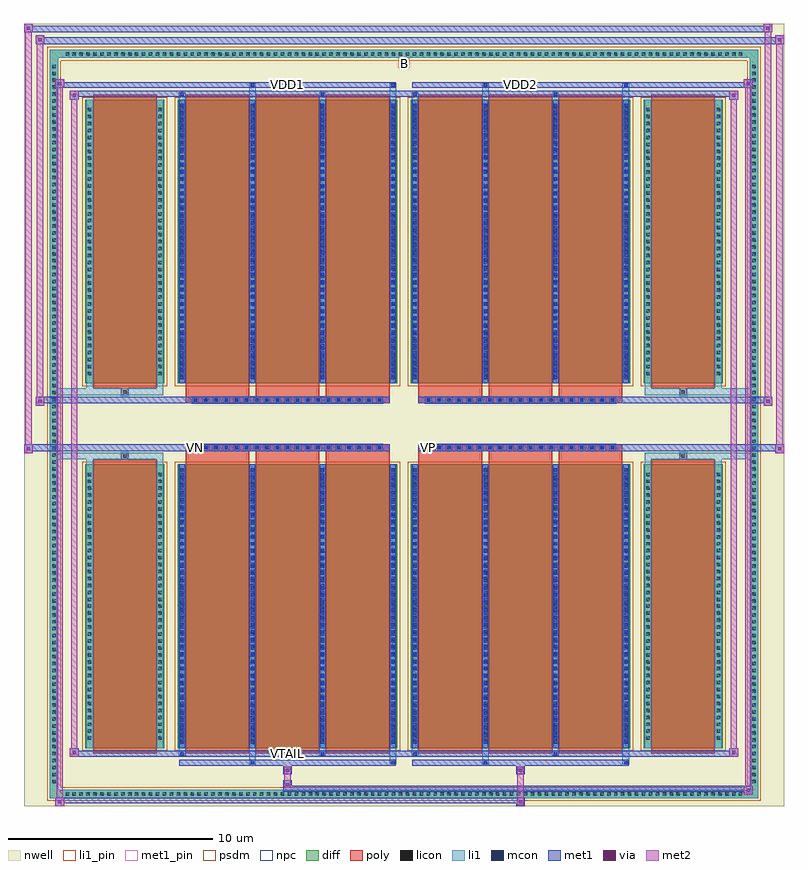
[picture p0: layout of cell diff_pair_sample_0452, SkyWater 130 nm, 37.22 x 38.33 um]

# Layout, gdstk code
import gdstk
lib = gdstk.Library(unit=1e-6, precision=5e-09)
def R(c, l, rs):  # rectangles x0, y0, x1, y1
    for r in rs: c.add(gdstk.rectangle(r[:2], r[2:], *l))
def A(c, l, x, y, w, h, nx, ny, dx, dy):  # array of equal rectangles
    R(c, l, [(x+i*dx, y+j*dy, x+i*dx+w, y+j*dy+h) for i in range(nx) for j in range(ny)])
def P(c, l, *ps):  # polygons
    for p in ps: c.add(gdstk.Polygon(p, *l))
nwell = (64, 20)
diff = (65, 20)
poly = (66, 20)
licon = (66, 44)
li1_pin = (67, 16)
li1 = (67, 20)
mcon = (67, 44)
met1_pin = (68, 16)
met1 = (68, 20)
via = (68, 44)
met2 = (69, 20)
psdm = (94, 20)
npc = (95, 20)

diff_pair_sample_0452 = lib.new_cell('diff_pair_sample_0452')
R(diff_pair_sample_0452, nwell, [(-18.61,-18.73,18.61,19.6), (-15.93,-16.92,-0.01,-0.8), (0.01,-16.92,15.93,-0.8), (-15.93,0.8,-0.01,16.92), (0.01,0.8,15.93,16.92)])
A(diff_pair_sample_0452, diff, -16.695, -18.33, 0.41, 0.41, 98, 2, 0.34, 36.25)
A(diff_pair_sample_0452, diff, -17.34, -17.715, 0.41, 0.41, 1, 104, 0, 0.34)
A(diff_pair_sample_0452, diff, 16.93, -17.715, 0.41, 0.41, 1, 104, 0, 0.34)
R(diff_pair_sample_0452, diff, [(-16.695,-18.33,16.695,-17.92), (-17.34,-17.715,-16.93,17.715), (16.93,-17.715,17.34,17.715), (-15.62,-15.875,-11.73,-1.985), (-11.09,-15.875,-0.32,-1.985), (0.32,-15.875,11.09,-1.985), (11.73,-15.875,15.62,-1.985), (-15.62,1.985,-11.73,15.875), (-11.09,1.985,-0.32,15.875), (0.32,1.985,11.09,15.875), (11.73,1.985,15.62,15.875), (-16.695,17.92,16.695,18.33)])
P(diff_pair_sample_0452, diff, [(17.34,18.33),(-17.34,18.33),(-17.34,-17.92),(-16.93,-17.92),(-16.93,17.92),(16.93,17.92),(16.93,-17.92),(-16.93,-17.92),(-17.34,-17.92),(-17.34,-18.33),(17.34,-18.33)])
A(diff_pair_sample_0452, poly, -10.7, -16.125, 3.11, 14.39, 3, 2, 3.44, 17.86)
A(diff_pair_sample_0452, poly, 0.71, -16.125, 3.11, 14.39, 3, 2, 3.44, 17.86)
A(diff_pair_sample_0452, poly, -10.7, -1.735, 3.11, 0.405, 3, 2, 3.44, 3.065)
A(diff_pair_sample_0452, poly, 0.71, -1.735, 3.11, 0.405, 3, 2, 3.44, 3.065)
A(diff_pair_sample_0452, poly, -10.37, -1.33, 0.33, 0.33, 19, 2, 0.5, 2.33)
A(diff_pair_sample_0452, poly, 1.04, -1.33, 0.33, 0.33, 19, 2, 0.5, 2.33)
R(diff_pair_sample_0452, poly, [(-15.23,-16.125,-12.12,-1.735), (12.12,-16.125,15.23,-1.735), (-13.84,-1.735,-13.51,-1.405), (-13.84,-1.735,-13.51,-1.405), (13.51,-1.735,13.84,-1.405), (13.51,-1.735,13.84,-1.405), (-10.7,-1.33,-0.71,-1), (0.71,-1.33,10.7,-1), (-10.7,1,-0.71,1.33), (0.71,1,10.7,1.33), (-13.84,1.405,-13.51,1.735), (-13.84,1.405,-13.51,1.735), (13.51,1.405,13.84,1.735), (13.51,1.405,13.84,1.735), (-15.23,1.735,-12.12,16.125), (12.12,1.735,15.23,16.125)])
A(diff_pair_sample_0452, licon, -16.575, -18.21, 0.17, 0.17, 98, 2, 0.34, 36.25)
A(diff_pair_sample_0452, licon, -17.22, -17.595, 0.17, 0.17, 1, 104, 0, 0.34)
A(diff_pair_sample_0452, licon, 17.05, -17.595, 0.17, 0.17, 1, 104, 0, 0.34)
A(diff_pair_sample_0452, licon, -15.48, -15.475, 0.17, 0.17, 1, 39, 0, 0.34)
A(diff_pair_sample_0452, licon, -12.04, -15.475, 0.17, 0.17, 1, 39, 0, 0.34)
A(diff_pair_sample_0452, licon, -10.95, -15.475, 0.17, 0.17, 4, 39, 3.44, 0.34)
A(diff_pair_sample_0452, licon, 0.46, -15.475, 0.17, 0.17, 4, 39, 3.44, 0.34)
A(diff_pair_sample_0452, licon, 11.87, -15.475, 0.17, 0.17, 1, 39, 0, 0.34)
A(diff_pair_sample_0452, licon, 15.31, -15.475, 0.17, 0.17, 1, 39, 0, 0.34)
A(diff_pair_sample_0452, licon, -10.29, -1.25, 0.17, 0.17, 19, 2, 0.5, 2.33)
A(diff_pair_sample_0452, licon, 1.12, -1.25, 0.17, 0.17, 19, 2, 0.5, 2.33)
A(diff_pair_sample_0452, licon, -15.48, 2.385, 0.17, 0.17, 1, 39, 0, 0.34)
A(diff_pair_sample_0452, licon, -12.04, 2.385, 0.17, 0.17, 1, 39, 0, 0.34)
A(diff_pair_sample_0452, licon, -10.95, 2.385, 0.17, 0.17, 4, 39, 3.44, 0.34)
A(diff_pair_sample_0452, licon, 0.46, 2.385, 0.17, 0.17, 4, 39, 3.44, 0.34)
A(diff_pair_sample_0452, licon, 11.87, 2.385, 0.17, 0.17, 1, 39, 0, 0.34)
A(diff_pair_sample_0452, licon, 15.31, 2.385, 0.17, 0.17, 1, 39, 0, 0.34)
R(diff_pair_sample_0452, licon, [(-13.76,-1.655,-13.59,-1.485), (13.59,-1.655,13.76,-1.485), (-13.76,1.485,-13.59,1.655), (13.59,1.485,13.76,1.655)])
R(diff_pair_sample_0452, li1_pin, [(-0.25,17.42,0.25,17.92)])
A(diff_pair_sample_0452, li1, -16.655, -18.29, 0.33, 0.33, 98, 2, 0.34, 36.25)
A(diff_pair_sample_0452, li1, -17.3, -17.675, 0.33, 0.33, 1, 104, 0, 0.34)
A(diff_pair_sample_0452, li1, 16.97, -17.675, 0.33, 0.33, 1, 104, 0, 0.34)
A(diff_pair_sample_0452, li1, -11.03, -15.875, 0.33, 13.89, 4, 2, 3.44, 17.86)
A(diff_pair_sample_0452, li1, 0.38, -15.875, 0.33, 13.89, 4, 2, 3.44, 17.86)
A(diff_pair_sample_0452, li1, -10.95, -15.675, 0.17, 0.17, 4, 38, 3.44, 0.36)
A(diff_pair_sample_0452, li1, -10.95, -15.675, 0.17, 13.49, 4, 2, 3.44, 17.86)
A(diff_pair_sample_0452, li1, 0.46, -15.675, 0.17, 0.17, 4, 38, 3.44, 0.36)
A(diff_pair_sample_0452, li1, 0.46, -15.675, 0.17, 13.49, 4, 2, 3.44, 17.86)
A(diff_pair_sample_0452, li1, -15.56, -15.555, 0.33, 0.33, 1, 39, 0, 0.34)
A(diff_pair_sample_0452, li1, -12.12, -15.555, 0.33, 0.33, 1, 39, 0, 0.34)
A(diff_pair_sample_0452, li1, -11.03, -15.555, 0.33, 0.33, 4, 39, 3.44, 0.34)
A(diff_pair_sample_0452, li1, 0.38, -15.555, 0.33, 0.33, 4, 39, 3.44, 0.34)
A(diff_pair_sample_0452, li1, 11.79, -15.555, 0.33, 0.33, 1, 39, 0, 0.34)
A(diff_pair_sample_0452, li1, 15.23, -15.555, 0.33, 0.33, 1, 39, 0, 0.34)
A(diff_pair_sample_0452, li1, -10.37, -1.33, 0.33, 0.33, 19, 2, 0.5, 2.33)
A(diff_pair_sample_0452, li1, 1.04, -1.33, 0.33, 0.33, 19, 2, 0.5, 2.33)
A(diff_pair_sample_0452, li1, -10.95, 2.185, 0.17, 0.17, 4, 38, 3.44, 0.36)
A(diff_pair_sample_0452, li1, 0.46, 2.185, 0.17, 0.17, 4, 38, 3.44, 0.36)
A(diff_pair_sample_0452, li1, -15.56, 2.305, 0.33, 0.33, 1, 39, 0, 0.34)
A(diff_pair_sample_0452, li1, -12.12, 2.305, 0.33, 0.33, 1, 39, 0, 0.34)
A(diff_pair_sample_0452, li1, -11.03, 2.305, 0.33, 0.33, 4, 39, 3.44, 0.34)
A(diff_pair_sample_0452, li1, 0.38, 2.305, 0.33, 0.33, 4, 39, 3.44, 0.34)
A(diff_pair_sample_0452, li1, 11.79, 2.305, 0.33, 0.33, 1, 39, 0, 0.34)
A(diff_pair_sample_0452, li1, 15.23, 2.305, 0.33, 0.33, 1, 39, 0, 0.34)
R(diff_pair_sample_0452, li1, [(-17.34,-18.33,-16.93,-17.92), (-17.34,-18.33,-16.93,-17.92), (-16.93,-18.33,16.93,-17.92), (16.93,-18.33,17.34,-17.92), (16.93,-18.33,17.34,-17.92), (-17.34,-17.92,-16.93,17.92), (16.93,-17.92,17.34,17.92), (-7.59,-16.68,-7.26,-15.875), (-7.51,-16.68,-7.34,-16.51), (-0.71,-16.68,-0.38,-15.875), (-0.63,-16.68,-0.46,-16.51), (3.82,-16.68,4.15,-15.875), (3.9,-16.68,4.07,-16.51), (10.7,-16.68,11.03,-15.875), (10.78,-16.68,10.95,-16.51), (-11.03,-16.25,-10.7,-15.875), (-10.95,-16.25,-10.78,-16.08), (-4.15,-16.25,-3.82,-15.875), (-4.07,-16.25,-3.9,-16.08), (0.38,-16.25,0.71,-15.875), (0.46,-16.25,0.63,-16.08), (7.26,-16.25,7.59,-15.875), (7.34,-16.25,7.51,-16.08), (-15.56,-15.875,-15.23,-1.985), (-12.12,-15.875,-11.79,-1.985), (11.79,-15.875,12.12,-1.985), (15.23,-15.875,15.56,-1.985), (-15.56,-1.985,-15.23,-1.405), (-12.12,-1.985,-11.79,-1.405), (11.79,-1.985,12.12,-1.405), (15.23,-1.985,15.56,-1.405), (-17.34,-1.735,-13.84,-1.405), (-15.56,-1.735,-13.84,-1.405), (-13.84,-1.735,-13.51,-1.405), (-13.51,-1.735,-11.79,-1.405), (11.79,-1.735,13.51,-1.405), (13.51,-1.735,13.84,-1.405), (13.51,-1.735,17.34,-1.405), (13.84,-1.735,15.56,-1.405), (-17.34,1.405,-13.84,1.735), (-15.56,1.405,-13.84,1.735), (-15.56,1.405,-15.23,1.985), (-13.84,1.405,-13.51,1.735), (-13.51,1.405,-11.79,1.735), (-12.12,1.405,-11.79,1.985), (11.79,1.405,13.51,1.735), (11.79,1.405,12.12,1.985), (13.51,1.405,13.84,1.735), (13.51,1.405,17.34,1.735), (13.84,1.405,15.56,1.735), (15.23,1.405,15.56,1.985), (-15.56,1.985,-15.23,15.875), (-12.12,1.985,-11.79,15.875), (11.79,1.985,12.12,15.875), (15.23,1.985,15.56,15.875), (-11.03,15.875,-10.7,16.25), (-7.59,15.875,-7.26,16.68), (-4.15,15.875,-3.82,16.25), (-0.71,15.875,-0.38,16.68), (0.38,15.875,0.71,16.25), (3.82,15.875,4.15,16.68), (7.26,15.875,7.59,16.25), (10.7,15.875,11.03,16.68), (-10.95,16.08,-10.78,16.25), (-4.07,16.08,-3.9,16.25), (0.46,16.08,0.63,16.25), (7.34,16.08,7.51,16.25), (-7.51,16.51,-7.34,16.68), (-0.63,16.51,-0.46,16.68), (3.9,16.51,4.07,16.68), (10.78,16.51,10.95,16.68), (-17.34,17.92,-16.93,18.33), (-17.34,17.92,-16.93,18.33), (-16.93,17.92,16.93,18.33), (16.93,17.92,17.34,18.33), (16.93,17.92,17.34,18.33)])
A(diff_pair_sample_0452, mcon, -10.95, -15.675, 0.17, 0.17, 4, 38, 3.44, 0.36)
A(diff_pair_sample_0452, mcon, 0.46, -15.675, 0.17, 0.17, 4, 38, 3.44, 0.36)
A(diff_pair_sample_0452, mcon, -10.29, -1.25, 0.17, 0.17, 19, 2, 0.5, 2.33)
A(diff_pair_sample_0452, mcon, 1.12, -1.25, 0.17, 0.17, 19, 2, 0.5, 2.33)
A(diff_pair_sample_0452, mcon, -10.95, 2.185, 0.17, 0.17, 4, 38, 3.44, 0.36)
A(diff_pair_sample_0452, mcon, 0.46, 2.185, 0.17, 0.17, 4, 38, 3.44, 0.36)
R(diff_pair_sample_0452, mcon, [(-7.51,-16.68,-7.34,-16.51), (-0.63,-16.68,-0.46,-16.51), (3.9,-16.68,4.07,-16.51), (10.78,-16.68,10.95,-16.51), (-10.95,-16.25,-10.78,-16.08), (-4.07,-16.25,-3.9,-16.08), (0.46,-16.25,0.63,-16.08), (7.34,-16.25,7.51,-16.08), (-10.95,16.08,-10.78,16.25), (-4.07,16.08,-3.9,16.25), (0.46,16.08,0.63,16.25), (7.34,16.08,7.51,16.25), (-7.51,16.51,-7.34,16.68), (-0.63,16.51,-0.46,16.68), (3.9,16.51,4.07,16.68), (10.78,16.51,10.95,16.68)])
R(diff_pair_sample_0452, met1_pin, [(-5.84,-16.29,-5.57,-16.02), (-10.34,-1.29,-10.07,-1.02), (1.07,-1.29,1.34,-1.02), (-5.84,16.47,-5.57,16.74), (5.57,16.47,5.84,16.74)])
A(diff_pair_sample_0452, met1, -11.01, -15.875, 0.29, 13.89, 4, 2, 3.44, 17.86)
A(diff_pair_sample_0452, met1, 0.4, -15.875, 0.29, 13.89, 4, 2, 3.44, 17.86)
A(diff_pair_sample_0452, met1, -11.01, -15.735, 0.29, 0.29, 4, 38, 3.44, 0.36)
A(diff_pair_sample_0452, met1, 0.4, -15.735, 0.29, 0.29, 4, 38, 3.44, 0.36)
A(diff_pair_sample_0452, met1, -10.35, -1.31, 0.29, 0.29, 19, 2, 0.5, 2.33)
A(diff_pair_sample_0452, met1, 1.06, -1.31, 0.29, 0.29, 19, 2, 0.5, 2.33)
A(diff_pair_sample_0452, met1, -11.01, 2.125, 0.29, 0.29, 4, 38, 3.44, 0.36)
A(diff_pair_sample_0452, met1, 0.4, 2.125, 0.29, 0.29, 4, 38, 3.44, 0.36)
R(diff_pair_sample_0452, met1, [(-17.07,-18.73,-16.64,-18.3), (5.49,-18.73,5.92,-18.3), (-17.07,-18.59,5.92,-18.3), (16.64,-18.16,17.07,-17.73), (-5.92,-18.02,17.07,-17.73), (-5.92,-17.88,-5.49,-17.45), (-5.92,-17.17,-5.49,-16.74), (5.49,-17.17,5.92,-16.74), (-11.01,-16.74,-0.4,-16.45), (-7.57,-16.74,-7.28,-16.45), (-0.69,-16.74,-0.4,-16.45), (0.4,-16.74,11.01,-16.45), (3.84,-16.74,4.13,-16.45), (10.72,-16.74,11.01,-16.45), (-16.36,-16.31,-15.93,-15.88), (-16.36,-16.31,-11.01,-16.02), (-11.01,-16.31,-10.72,-16.02), (-11.01,-16.31,-0.4,-16.02), (-4.13,-16.31,-3.84,-16.02), (-0.4,-16.31,0.4,-16.02), (0.4,-16.31,0.69,-16.02), (0.4,-16.31,11.01,-16.02), (7.28,-16.31,7.57,-16.02), (11.01,-16.31,16.36,-16.02), (15.93,-16.31,16.36,-15.88), (-18.61,-1.43,-18.18,-1), (18.18,-1.43,18.61,-1), (-18.61,-1.33,-0.71,-1), (-10.7,-1.33,-0.71,-1), (0.71,-1.33,10.7,-1), (0.71,-1.33,18.61,-1), (-18.04,0.9,-17.61,1.33), (17.61,0.9,18.04,1.33), (-18.04,1,-10.7,1.33), (-10.7,1,-0.71,1.33), (0.71,1,10.7,1.33), (10.7,1,18.04,1.33), (-16.36,15.88,-15.93,16.31), (15.93,15.88,16.36,16.31), (-16.36,16.02,-11.01,16.31), (-11.01,16.02,-10.72,16.31), (-11.01,16.02,-0.4,16.31), (-4.13,16.02,-3.84,16.31), (-0.4,16.02,0.4,16.31), (0.4,16.02,0.69,16.31), (0.4,16.02,11.01,16.31), (7.28,16.02,7.57,16.31), (11.01,16.02,16.36,16.31), (-17.07,16.45,-16.64,16.88), (-17.07,16.45,-11.01,16.74), (-11.01,16.45,-0.4,16.74), (-7.57,16.45,-7.28,16.74), (-0.69,16.45,-0.4,16.74), (0.4,16.45,11.01,16.74), (3.84,16.45,4.13,16.74), (10.72,16.45,11.01,16.74), (11.01,16.45,17.07,16.74), (16.64,16.45,17.07,16.88), (-18.04,18.6,-17.61,19.03), (-18.04,18.6,-15.93,18.93), (-15.93,18.6,15.93,18.93), (15.93,18.6,18.61,18.93), (18.18,18.6,18.61,19.03), (-18.61,19.17,-18.18,19.6), (-18.61,19.17,-15.93,19.5), (-15.93,19.17,15.93,19.5), (15.93,19.17,18.04,19.5), (17.61,19.17,18.04,19.6)])
R(diff_pair_sample_0452, via, [(-16.93,-18.59,-16.78,-18.44), (5.63,-18.59,5.78,-18.44), (16.78,-18.02,16.93,-17.87), (-5.78,-17.74,-5.63,-17.59), (-5.78,-17.03,-5.63,-16.88), (5.63,-17.03,5.78,-16.88), (-16.22,-16.17,-16.07,-16.02), (16.07,-16.17,16.22,-16.02), (-18.47,-1.29,-18.32,-1.14), (18.32,-1.29,18.47,-1.14), (-17.9,1.04,-17.75,1.19), (17.75,1.04,17.9,1.19), (-16.22,16.02,-16.07,16.17), (16.07,16.02,16.22,16.17), (-16.93,16.59,-16.78,16.74), (16.78,16.59,16.93,16.74), (-17.9,18.74,-17.75,18.89), (18.32,18.74,18.47,18.89), (-18.47,19.31,-18.32,19.46), (17.75,19.31,17.9,19.46)])
R(diff_pair_sample_0452, met2, [(-17.07,-18.73,-16.64,-18.3), (-17,-18.73,-16.71,16.88), (-16.71,-18.73,-16.64,-18.3), (-17.02,-18.68,-16.69,-18.35), (5.54,-18.68,5.87,-18.35), (5.54,-18.35,5.87,-17.12), (16.64,-18.16,17.07,-17.73), (16.71,-18.16,17,16.88), (17,-18.16,17.07,-17.73), (16.69,-18.11,17.02,-17.78), (-5.87,-17.83,-5.54,-17.5), (-5.87,-17.5,-5.54,-17.12), (-5.87,-17.12,-5.54,-16.79), (5.54,-17.12,5.87,-16.79), (-16.36,-16.31,-15.93,-15.88), (-16.29,-16.31,-16,16.31), (-16,-16.31,-15.93,-15.88), (15.93,-16.31,16.36,-15.88), (16,-16.31,16.29,16.31), (16.29,-16.31,16.36,-15.88), (-16.31,-16.26,-15.98,-15.93), (15.98,-16.26,16.31,-15.93), (-18.61,-1.43,-18.18,-1), (-18.56,-1.43,-18.23,19.6), (-18.23,-1.43,-18.18,-1), (18.18,-1.43,18.61,-1), (18.23,-1.43,18.56,19.03), (18.56,-1.43,18.61,-1), (-18.56,-1.38,-18.23,-1.05), (18.23,-1.38,18.56,-1.05), (-18.04,0.9,-17.61,1.33), (-17.99,0.9,-17.66,19.03), (-17.66,0.9,-17.61,1.33), (17.61,0.9,18.04,1.33), (17.66,0.9,17.99,19.6), (17.99,0.9,18.04,1.33), (-17.99,0.95,-17.66,1.28), (17.66,0.95,17.99,1.28), (-16.36,15.88,-15.93,16.31), (-16,15.88,-15.93,16.31), (15.93,15.88,16.36,16.31), (16.29,15.88,16.36,16.31), (-16.31,15.93,-15.98,16.26), (15.98,15.93,16.31,16.26), (-17.07,16.45,-16.64,16.88), (-16.71,16.45,-16.64,16.88), (16.64,16.45,17.07,16.88), (17,16.45,17.07,16.88), (-17.02,16.5,-16.69,16.83), (16.69,16.5,17.02,16.83), (-18.04,18.6,-17.61,19.03), (-17.66,18.6,-17.61,19.03), (18.18,18.6,18.61,19.03), (18.56,18.6,18.61,19.03), (-17.99,18.65,-17.66,18.98), (18.23,18.65,18.56,18.98), (-18.61,19.17,-18.18,19.6), (-18.23,19.17,-18.18,19.6), (17.61,19.17,18.04,19.6), (17.99,19.17,18.04,19.6), (-18.56,19.22,-18.23,19.55), (17.66,19.22,17.99,19.55)])
R(diff_pair_sample_0452, psdm, [(-15.75,-16.005,-11.6,-1.855), (-11.22,-16.005,-0.19,-1.855), (0.19,-16.005,11.22,-1.855), (11.6,-16.005,15.75,-1.855), (-15.75,1.855,-11.6,16.005), (-11.22,1.855,-0.19,16.005), (0.19,1.855,11.22,16.005), (11.6,1.855,15.75,16.005)])
P(diff_pair_sample_0452, psdm, [(17.47,18.46),(-17.47,18.46),(-17.47,-17.79),(-16.8,-17.79),(-16.8,17.79),(16.8,17.79),(16.8,-17.79),(-16.8,-17.79),(-17.47,-17.79),(-17.47,-18.46),(17.47,-18.46)])
A(diff_pair_sample_0452, npc, -10.39, -1.35, 0.37, 0.37, 19, 2, 0.5, 2.33)
A(diff_pair_sample_0452, npc, 1.02, -1.35, 0.37, 0.37, 19, 2, 0.5, 2.33)
R(diff_pair_sample_0452, npc, [(-13.86,-1.755,-13.49,-1.385), (13.49,-1.755,13.86,-1.385), (-10.39,-1.35,-9.52,-0.98), (-10.39,-1.35,-9.52,-0.98), (-9.89,-1.35,-9.02,-0.98), (-9.89,-1.35,-9.02,-0.98), (-9.39,-1.35,-8.52,-0.98), (-9.39,-1.35,-8.52,-0.98), (-8.89,-1.35,-8.02,-0.98), (-8.89,-1.35,-8.02,-0.98), (-8.39,-1.35,-7.52,-0.98), (-8.39,-1.35,-7.52,-0.98), (-7.89,-1.35,-7.02,-0.98), (-7.89,-1.35,-7.02,-0.98), (-7.39,-1.35,-6.52,-0.98), (-7.39,-1.35,-6.52,-0.98), (-6.89,-1.35,-6.02,-0.98), (-6.89,-1.35,-6.02,-0.98), (-6.39,-1.35,-5.52,-0.98), (-6.39,-1.35,-5.52,-0.98), (-5.89,-1.35,-5.02,-0.98), (-5.89,-1.35,-5.02,-0.98), (-5.39,-1.35,-4.52,-0.98), (-5.39,-1.35,-4.52,-0.98), (-4.89,-1.35,-4.02,-0.98), (-4.89,-1.35,-4.02,-0.98), (-4.39,-1.35,-3.52,-0.98), (-4.39,-1.35,-3.52,-0.98), (-3.89,-1.35,-3.02,-0.98), (-3.89,-1.35,-3.02,-0.98), (-3.39,-1.35,-2.52,-0.98), (-3.39,-1.35,-2.52,-0.98), (-2.89,-1.35,-2.02,-0.98), (-2.89,-1.35,-2.02,-0.98), (-2.39,-1.35,-1.52,-0.98), (-2.39,-1.35,-1.52,-0.98), (-1.89,-1.35,-1.02,-0.98), (-1.89,-1.35,-1.02,-0.98), (1.02,-1.35,1.89,-0.98), (1.02,-1.35,1.89,-0.98), (1.52,-1.35,2.39,-0.98), (1.52,-1.35,2.39,-0.98), (2.02,-1.35,2.89,-0.98), (2.02,-1.35,2.89,-0.98), (2.52,-1.35,3.39,-0.98), (2.52,-1.35,3.39,-0.98), (3.02,-1.35,3.89,-0.98), (3.02,-1.35,3.89,-0.98), (3.52,-1.35,4.39,-0.98), (3.52,-1.35,4.39,-0.98), (4.02,-1.35,4.89,-0.98), (4.02,-1.35,4.89,-0.98), (4.52,-1.35,5.39,-0.98), (4.52,-1.35,5.39,-0.98), (5.02,-1.35,5.89,-0.98), (5.02,-1.35,5.89,-0.98), (5.52,-1.35,6.39,-0.98), (5.52,-1.35,6.39,-0.98), (6.02,-1.35,6.89,-0.98), (6.02,-1.35,6.89,-0.98), (6.52,-1.35,7.39,-0.98), (6.52,-1.35,7.39,-0.98), (7.02,-1.35,7.89,-0.98), (7.02,-1.35,7.89,-0.98), (7.52,-1.35,8.39,-0.98), (7.52,-1.35,8.39,-0.98), (8.02,-1.35,8.89,-0.98), (8.02,-1.35,8.89,-0.98), (8.52,-1.35,9.39,-0.98), (8.52,-1.35,9.39,-0.98), (9.02,-1.35,9.89,-0.98), (9.02,-1.35,9.89,-0.98), (9.52,-1.35,10.39,-0.98), (9.52,-1.35,10.39,-0.98), (-10.39,0.98,-9.52,1.35), (-10.39,0.98,-9.52,1.35), (-9.89,0.98,-9.02,1.35), (-9.89,0.98,-9.02,1.35), (-9.39,0.98,-8.52,1.35), (-9.39,0.98,-8.52,1.35), (-8.89,0.98,-8.02,1.35), (-8.89,0.98,-8.02,1.35), (-8.39,0.98,-7.52,1.35), (-8.39,0.98,-7.52,1.35), (-7.89,0.98,-7.02,1.35), (-7.89,0.98,-7.02,1.35), (-7.39,0.98,-6.52,1.35), (-7.39,0.98,-6.52,1.35), (-6.89,0.98,-6.02,1.35), (-6.89,0.98,-6.02,1.35), (-6.39,0.98,-5.52,1.35), (-6.39,0.98,-5.52,1.35), (-5.89,0.98,-5.02,1.35), (-5.89,0.98,-5.02,1.35), (-5.39,0.98,-4.52,1.35), (-5.39,0.98,-4.52,1.35), (-4.89,0.98,-4.02,1.35), (-4.89,0.98,-4.02,1.35), (-4.39,0.98,-3.52,1.35), (-4.39,0.98,-3.52,1.35), (-3.89,0.98,-3.02,1.35), (-3.89,0.98,-3.02,1.35), (-3.39,0.98,-2.52,1.35), (-3.39,0.98,-2.52,1.35), (-2.89,0.98,-2.02,1.35), (-2.89,0.98,-2.02,1.35), (-2.39,0.98,-1.52,1.35), (-2.39,0.98,-1.52,1.35), (-1.89,0.98,-1.02,1.35), (-1.89,0.98,-1.02,1.35), (1.02,0.98,1.89,1.35), (1.02,0.98,1.89,1.35), (1.52,0.98,2.39,1.35), (1.52,0.98,2.39,1.35), (2.02,0.98,2.89,1.35), (2.02,0.98,2.89,1.35), (2.52,0.98,3.39,1.35), (2.52,0.98,3.39,1.35), (3.02,0.98,3.89,1.35), (3.02,0.98,3.89,1.35), (3.52,0.98,4.39,1.35), (3.52,0.98,4.39,1.35), (4.02,0.98,4.89,1.35), (4.02,0.98,4.89,1.35), (4.52,0.98,5.39,1.35), (4.52,0.98,5.39,1.35), (5.02,0.98,5.89,1.35), (5.02,0.98,5.89,1.35), (5.52,0.98,6.39,1.35), (5.52,0.98,6.39,1.35), (6.02,0.98,6.89,1.35), (6.02,0.98,6.89,1.35), (6.52,0.98,7.39,1.35), (6.52,0.98,7.39,1.35), (7.02,0.98,7.89,1.35), (7.02,0.98,7.89,1.35), (7.52,0.98,8.39,1.35), (7.52,0.98,8.39,1.35), (8.02,0.98,8.89,1.35), (8.02,0.98,8.89,1.35), (8.52,0.98,9.39,1.35), (8.52,0.98,9.39,1.35), (9.02,0.98,9.89,1.35), (9.02,0.98,9.89,1.35), (9.52,0.98,10.39,1.35), (9.52,0.98,10.39,1.35), (-13.86,1.385,-13.49,1.755), (13.49,1.385,13.86,1.755)])
diff_pair_sample_0452.add(gdstk.Label('VTAIL', (-5.705,-16.155), layer=68, texttype=5))
diff_pair_sample_0452.add(gdstk.Label('VN', (-10.205,-1.155), layer=68, texttype=5))
diff_pair_sample_0452.add(gdstk.Label('VP', (1.205,-1.155), layer=68, texttype=5))
diff_pair_sample_0452.add(gdstk.Label('B', (0,17.67), layer=67, texttype=5))
diff_pair_sample_0452.add(gdstk.Label('VDD2', (5.705,16.605), layer=68, texttype=5))
diff_pair_sample_0452.add(gdstk.Label('VDD1', (-5.705,16.605), layer=68, texttype=5))

lib.write_gds('diff_pair_sample_0452.gds')
